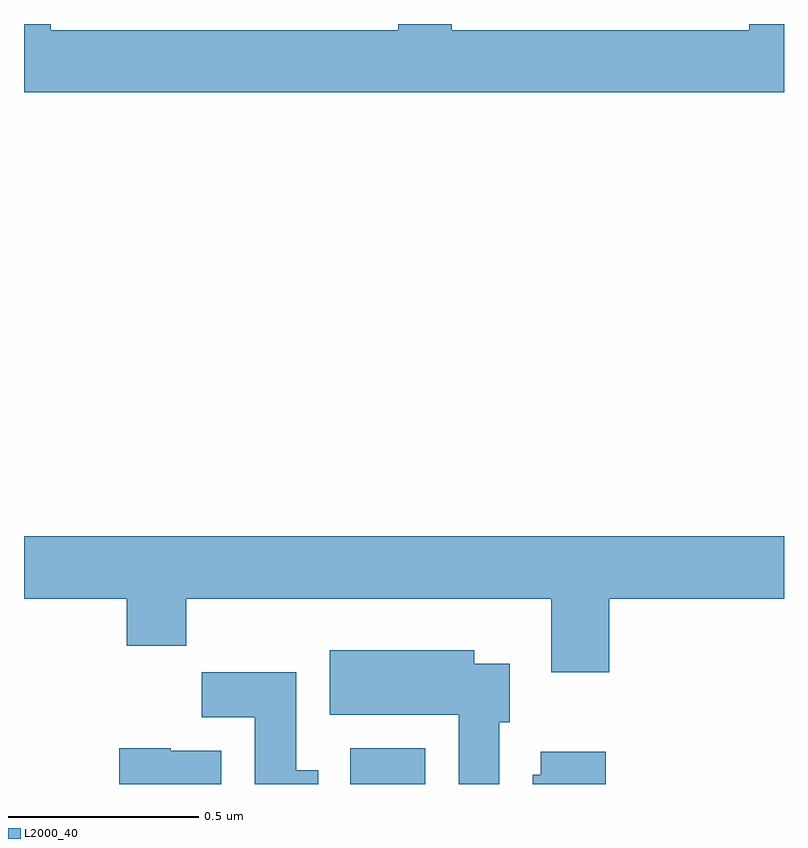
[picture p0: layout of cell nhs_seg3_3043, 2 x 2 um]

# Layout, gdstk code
import gdstk
lib = gdstk.Library(unit=1e-6, precision=1e-09)
def R(c, l, rs):  # rectangles x0, y0, x1, y1
    for r in rs: c.add(gdstk.rectangle(r[:2], r[2:], *l))
def P(c, l, *ps):  # polygons
    for p in ps: c.add(gdstk.Polygon(p, *l))
L2000_40 = (2000, 40)

nhs_seg3_3043 = lib.new_cell('nhs_seg3_3043')
R(nhs_seg3_3043, L2000_40, [(148.859,728.4,149.056,728.494)])
P(nhs_seg3_3043, L2000_40, [(150,730.4),(149.909,730.4),(149.909,730.384),(149.125,730.384),(149.125,730.4),(148.985,730.4),(148.985,730.384),(148.071,730.384),(148.071,730.4),(148,730.4),(148,730.22),(150,730.22)],
  [(149.54,728.888),(150,728.888),(150,729.052),(148,729.052),(148,728.888),(148.271,728.888),(148.271,728.764),(148.427,728.764),(148.427,728.888),(149.387,728.888),(149.387,728.694),(149.54,728.694)],
  [(149.251,728.562),(149.278,728.562),(149.278,728.716),(149.185,728.716),(149.185,728.752),(148.805,728.752),(148.805,728.582),(149.144,728.582),(149.144,728.4),(149.251,728.4)],
  [(148.774,728.436),(148.717,728.436),(148.717,728.694),(148.468,728.694),(148.468,728.576),(148.607,728.576),(148.607,728.4),(148.774,728.4)],
  [(148.519,728.488),(148.386,728.488),(148.386,728.494),(148.25,728.494),(148.25,728.4),(148.519,728.4)],
  [(149.531,728.485),(149.36,728.485),(149.36,728.424),(149.339,728.424),(149.339,728.4),(149.531,728.4)])

lib.write_gds('nhs_seg3_3043.gds')
